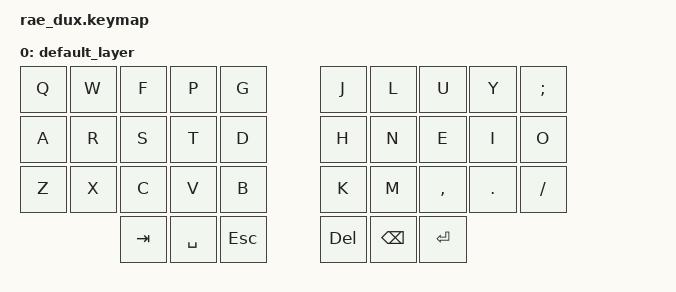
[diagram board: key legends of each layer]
#include <behaviors.dtsi>
#include <dt-bindings/zmk/keys.h>

/ {
    keymap {
        compatible = "zmk,keymap";

        default_layer {
// --------------------------------------------------------------------------------------------------------------------------------------------------------------------
// |    Q    |    W    |    F    |    P    |    G    |  |    J    |    L    |    U    |    Y    |    ;    |
// |    A    |    R    |    S    |    T    |    D    |  |    H    |    N    |    E    |    I    |    O    |
// |    Z    |    X    |    C    |    V    |    B    |  |    K    |    M    |    ,    |    .    |    /    |
//                     |   TAB   |  SPACE  |   ESC   |  |   DEL   |   BSPC  |   RET   |

            bindings = <
    &kp Q    &kp W    &kp F     &kp P     &kp G     &kp J     &kp L     &kp U     &kp Y     &kp SEMI
    &kp A    &kp R    &kp S     &kp T     &kp D     &kp H     &kp N     &kp E     &kp I     &kp O
    &kp Z    &kp X    &kp C     &kp V     &kp B     &kp K     &kp M     &kp COMMA &kp DOT   &kp FSLH
                      &kp TAB   &kp SPACE &kp ESC   &kp DEL   &kp BSPC  &kp RET
            >;
        };
    };
};
